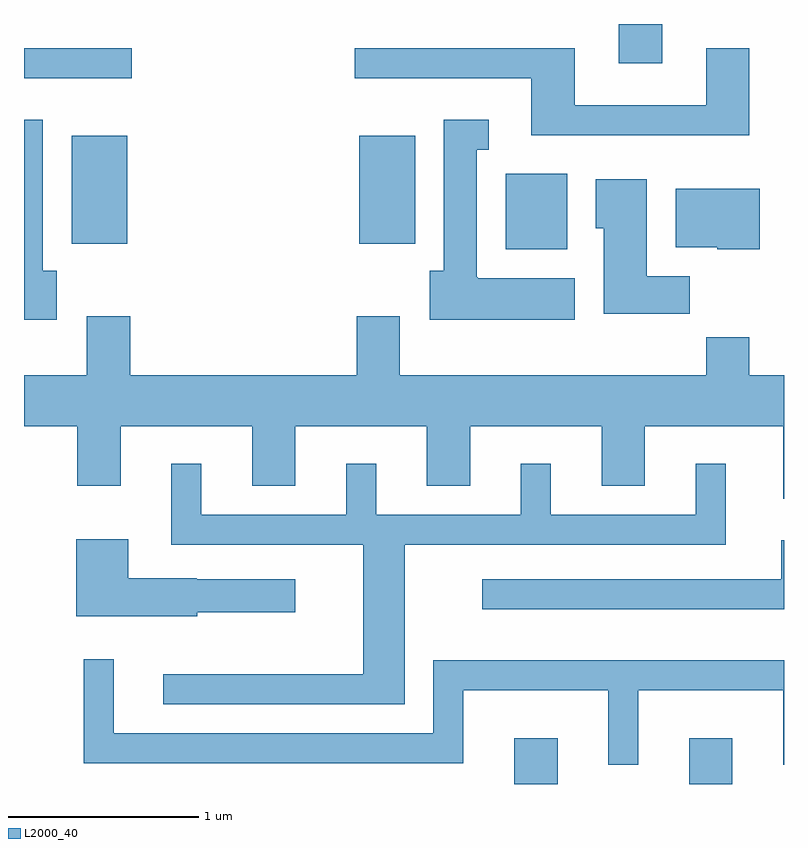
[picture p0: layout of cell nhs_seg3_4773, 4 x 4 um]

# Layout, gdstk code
import gdstk
lib = gdstk.Library(unit=1e-6, precision=1e-09)
def R(c, l, rs):  # rectangles x0, y0, x1, y1
    for r in rs: c.add(gdstk.rectangle(r[:2], r[2:], *l))
def P(c, l, *ps):  # polygons
    for p in ps: c.add(gdstk.Polygon(p, *l))
L2000_40 = (2000, 40)

nhs_seg3_4773 = lib.new_cell('nhs_seg3_4773')
R(nhs_seg3_4773, L2000_40, [(328.191,1141.892,328.419,1142.134), (329.111,1141.892,329.339,1142.134), (328.146,1144.706,328.469,1145.104), (325.861,1144.736,326.154,1145.304), (327.376,1144.736,327.669,1145.304), (325.611,1145.606,326.178,1145.764), (328.741,1145.686,328.969,1145.892)])
P(nhs_seg3_4773, L2000_40, [(329.429,1145.764),(329.201,1145.764),(329.201,1145.464),(328.509,1145.464),(328.509,1145.764),(327.353,1145.764),(327.353,1145.606),(328.281,1145.606),(328.281,1145.306),(329.429,1145.306)],
  [(328.509,1144.554),(328,1144.554),(328,1144.56),(327.994,1144.56),(327.994,1145.231),(328.058,1145.231),(328.058,1145.389),(327.821,1145.389),(327.821,1144.594),(327.746,1144.594),(327.746,1144.336),(328.509,1144.336)],
  [(325.784,1144.594),(325.709,1144.594),(325.709,1145.389),(325.611,1145.389),(325.611,1144.336),(325.784,1144.336)],
  [(329.114,1144.564),(328.889,1144.564),(328.889,1145.074),(328.621,1145.074),(328.621,1144.816),(328.661,1144.816),(328.661,1144.366),(329.114,1144.366)],
  [(329.484,1145.024),(329.041,1145.024),(329.041,1144.716),(329.26,1144.716),(329.26,1144.706),(329.484,1144.706)],
  [(329.611,1144.044),(329.429,1144.044),(329.429,1144.244),(329.201,1144.244),(329.201,1144.044),(327.589,1144.044),(327.589,1144.354),(327.361,1144.354),(327.361,1144.044),(326.169,1144.044),(326.169,1144.354),(325.941,1144.354),(325.941,1144.044),(325.611,1144.044),(325.611,1143.776),(325.891,1143.776),(325.891,1143.461),(326.119,1143.461),(326.119,1143.776),(326.811,1143.776),(326.811,1143.461),(327.039,1143.461),(327.039,1143.776),(327.731,1143.776),(327.731,1143.461),(327.959,1143.461),(327.959,1143.776),(328.651,1143.776),(328.651,1143.461),(328.879,1143.461),(328.879,1143.776),(329.606,1143.776),(329.606,1143.393),(329.611,1143.393)],
  [(327.614,1143.151),(329.304,1143.151),(329.304,1143.578),(329.146,1143.578),(329.146,1143.309),(328.384,1143.309),(328.384,1143.578),(328.226,1143.578),(328.226,1143.309),(327.464,1143.309),(327.464,1143.578),(327.306,1143.578),(327.306,1143.309),(326.544,1143.309),(326.544,1143.578),(326.386,1143.578),(326.386,1143.151),(327.396,1143.151),(327.396,1142.469),(326.343,1142.469),(326.343,1142.311),(327.614,1142.311)],
  [(326.524,1142.796),(327.039,1142.796),(327.039,1142.969),(326.52,1142.969),(326.52,1142.974),(326.159,1142.974),(326.159,1143.179),(325.886,1143.179),(325.886,1142.776),(326.524,1142.776)],
  [(329.611,1143.174),(329.596,1143.174),(329.596,1142.969),(328.023,1142.969),(328.023,1142.811),(329.611,1142.811)],
  [(328.844,1142.386),(329.606,1142.386),(329.606,1141.993),(329.611,1141.993),(329.611,1142.544),(327.766,1142.544),(327.766,1142.159),(326.084,1142.159),(326.084,1142.548),(325.926,1142.548),(325.926,1142.001),(327.924,1142.001),(327.924,1142.386),(328.686,1142.386),(328.686,1141.993),(328.844,1141.993)])

lib.write_gds('nhs_seg3_4773.gds')
